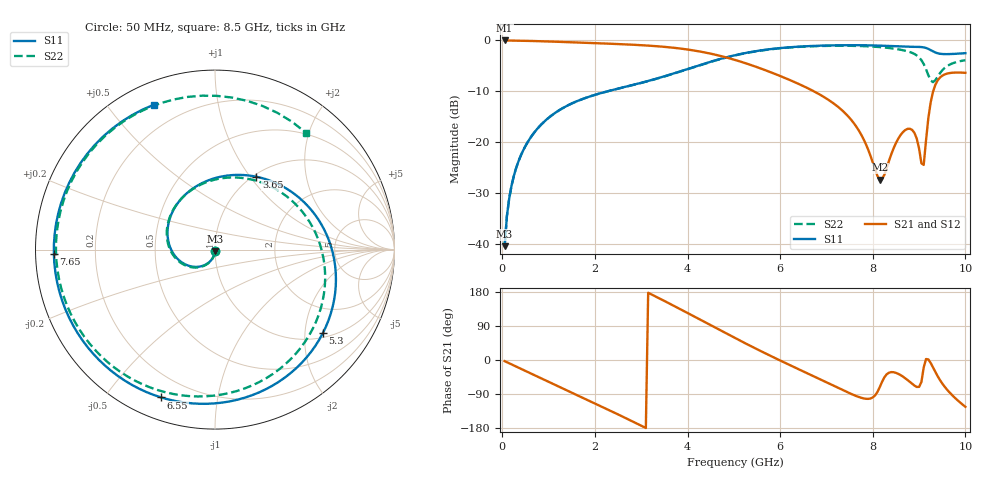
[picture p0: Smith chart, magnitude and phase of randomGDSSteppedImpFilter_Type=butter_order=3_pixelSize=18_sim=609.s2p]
! freq	dB(S11)	phase(S11)	dB(S12)	phase(S12)
!  dB(S21)	phase(S21)	dB(S22)	phase(S22)
!S-par simulation data
#  GHz  S  DB  R 50
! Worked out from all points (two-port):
!   200 points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, 50 MHz to 10 GHz, reference 50 ohm
!   highest |S21| = -0.01 dB at 50 MHz (marker M1); lowest = -27.3 dB at 8.15 GHz (marker M2)
!   |S21| within 3 dB of the highest: start of sweep to 4.696 GHz
!   lowest |S11| = -40.3 dB at 50 MHz (marker M3), VSWR 1.02, Z = 50 - j0.961 ohm
!   |S11| at or under -10 dB: start of sweep to 2.259 GHz
!   |S22| runs from -40.3 to -1.0 dB; largest |S21 - S12| = 0
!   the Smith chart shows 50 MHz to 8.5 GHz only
!   S11 on the Smith chart (normalised r, x): 50 MHz: 1.00, -0.02; 3.65 GHz: 1.03, +1.07; 5.3 GHz: 1.12, -2.47; 6.55 GHz: 0.10, -0.70; 7.65 GHz: 0.05, -0.01; 8.5 GHz: 0.10, +0.66
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0.05  -40.33 -91.6  -0.01 -2.9  -0.01 -2.9  -40.33 -91.5
0.2  -28.45 -101.8  -0.03 -11.6  -0.03 -11.6  -28.45 -101.2
0.5  -20.70 -120.0  -0.08 -28.9  -0.08 -28.9  -20.69 -118.7
1.75  -11.42 167.4  -0.45 -100.3  -0.45 -100.3  -11.43 170.4
2.65  -9.10 116.8  -0.77 -152.5  -0.77 -152.5  -9.12 116.6
3.4  -7.30 74.7  -1.18 162.1  -1.18 162.1  -7.34 67.8
3.65  -6.62 60.4  -1.39 146.4  -1.39 146.4  -6.65 50.7
4.35  -4.58 19.3  -2.31 101.5  -2.31 101.5  -4.62 2.3
5.05  -2.85 -22.9  -3.89 56.4  -3.89 56.4  -2.89 -45.4
5.3  -2.38 -37.9  -4.61 40.8  -4.61 40.8  -2.42 -61.8
6.55  -1.14 -110.0  -9.16 -33.1  -9.16 -33.1  -1.20 -140.1
6.7  -1.08 -118.7  -9.84 -41.7  -9.84 -41.7  -1.14 -149.6
7.65  -0.93 -178.5  -16.98 -95.4  -16.98 -95.4  -1.08 142.3
8.15  -1.02 143.3  -27.31 -71.9  -27.31 -71.9  -1.30 94.8
8.35  -1.09 126.2  -23.62 -33.5  -23.62 -33.5  -1.48 71.7
8.5  -1.15 112.7  -20.12 -33.9  -20.12 -33.9  -1.67 52.2
8.85  -1.25 79.3  -17.54 -62.7  -17.54 -62.7  -2.44 -6.6
9.05  -1.30 58.2  -24.08 -58.1  -24.08 -58.1  -3.87 -62.6
9.25  -1.90 36.2  -12.16 -7.7  -12.16 -7.7  -7.83 -173.3
9.45  -2.61 20.4  -7.28 -52.7  -7.28 -52.7  -6.43 67.3
9.7  -2.66 1.9  -6.35 -91.1  -6.35 -91.1  -4.58 2.4
10  -2.50 -20.6  -6.35 -123.5  -6.35 -123.5  -3.87 -42.2
